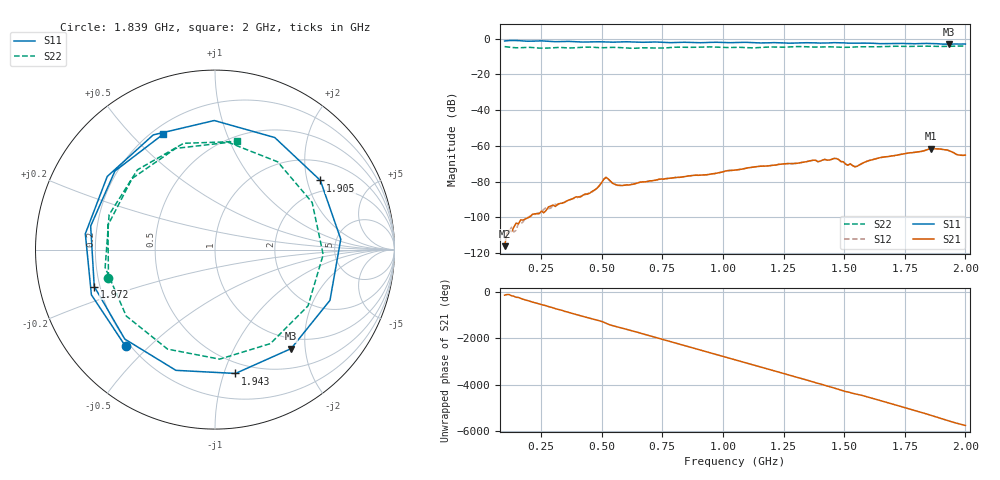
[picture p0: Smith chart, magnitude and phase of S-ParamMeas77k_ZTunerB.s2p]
!Keysight Technologies,N5242B,MY48420967,A.15.65.19
!Date: Monday, December 19, 2022 10:49:47
!Correction: S11(C  2-Port  )
!S21(C  2-Port  )
!S12(C  2-Port  )
!S22(C  2-Port  )
!S2P File: Measurements: S11, S21, S12, S22:
# Hz S  dB  R 50
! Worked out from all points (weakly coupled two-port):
!   201 points, 100 MHz to 2 GHz, reference 50 ohm
!   highest |S21| = -61.57 dB at 1.857 GHz (marker M1); lowest = -116.2 dB at 100 MHz (marker M2)
!   lowest |S11| = -3.2 dB at 1.933 GHz (marker M3), VSWR 5.57, Z = 40.6 - j86.7 ohm
!   |S11| at or under -10 dB: nowhere
!   |S22| runs from -5.4 to -4.1 dB; largest |S21 - S12| = 4.1e-06
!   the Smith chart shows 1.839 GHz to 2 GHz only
!   S11 on the Smith chart (normalised r, x): 1.839 GHz: 0.18, -0.42; 1.905 GHz: 1.59, +2.42; 1.943 GHz: 0.41, -1.09; 1.972 GHz: 0.18, -0.14; 2 GHz: 0.24, +0.62
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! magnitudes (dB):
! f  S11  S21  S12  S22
! 100 MHz  -1.3  -116.2  -112.2  -4.5
! 423 MHz  -1.9  -87.6  -87.3  -4.8
! 499 MHz  -1.8  -80.8  -80.7  -5.1
! 518 MHz  -1.9  -77.7  -77.6  -5.0
! 546.5 MHz  -2.0  -81.1  -81.0  -4.9
! 689 MHz  -2.0  -80.0  -79.9  -5.2
! 736.5 MHz  -2.0  -78.7  -78.8  -5.3
! 1.05 GHz  -2.2  -73.6  -73.6  -4.9
! 1.373 GHz  -2.4  -68.1  -68.1  -4.7
! 1.392 GHz  -2.5  -68.9  -68.9  -4.7
! 1.468 GHz  -2.3  -67.1  -67.1  -4.7
! 1.516 GHz  -2.5  -70.9  -70.9  -4.9
! 1.544 GHz  -2.6  -71.7  -71.7  -4.7
! 1.601 GHz  -2.5  -68.3  -68.3  -4.6
! 1.687 GHz  -2.8  -65.9  -65.9  -4.3
! 1.839 GHz  -2.7  -62.4  -62.4  -4.2
! 1.857 GHz  -2.8  -61.6  -61.6  -4.3
! 1.905 GHz  -3.1  -62.0  -62.0  -4.4
! 1.933 GHz  -3.2  -62.8  -62.8  -4.3
! 1.943 GHz  -3.1  -63.3  -63.3  -4.2
! 1.972 GHz  -3.1  -65.1  -65.2  -4.1
! 2 GHz  -3.0  -65.2  -65.2  -4.2
